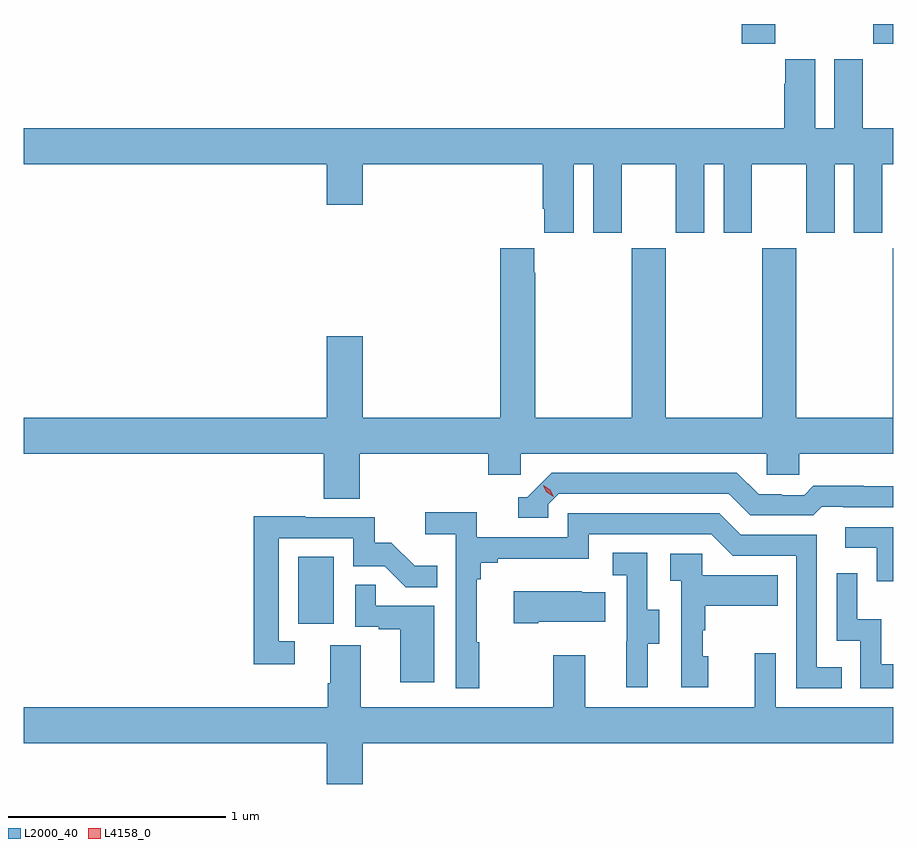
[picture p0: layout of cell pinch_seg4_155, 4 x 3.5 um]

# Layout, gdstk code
import gdstk
lib = gdstk.Library(unit=1e-6, precision=1e-09)
def R(c, l, rs):  # rectangles x0, y0, x1, y1
    for r in rs: c.add(gdstk.rectangle(r[:2], r[2:], *l))
def P(c, l, *ps):  # polygons
    for p in ps: c.add(gdstk.Polygon(p, *l))
L2000_40 = (2000, 40)
L4158_0 = (4158, 0)

pinch_seg4_155 = lib.new_cell('pinch_seg4_155')
R(pinch_seg4_155, L2000_40, [(1141.898,804.03,1142.062,804.337), (1143.938,806.697,1144.093,806.788), (1144.543,806.697,1144.635,806.788)])
P(pinch_seg4_155, L2000_40, [(1143.166,806.144),(1143.254,806.144),(1143.254,805.827),(1143.385,805.827),(1143.385,806.144),(1143.635,806.144),(1143.635,805.827),(1143.766,805.827),(1143.766,806.144),(1143.854,806.144),(1143.854,805.827),(1143.985,805.827),(1143.985,806.144),(1144.235,806.144),(1144.235,805.827),(1144.366,805.827),(1144.366,806.144),(1144.454,806.144),(1144.454,805.827),(1144.585,805.827),(1144.585,806.144),(1144.635,806.144),(1144.635,806.308),(1144.495,806.308),(1144.495,806.626),(1144.364,806.626),(1144.364,806.308),(1144.276,806.308),(1144.276,806.626),(1144.139,806.626),(1144.139,806.513),(1144.133,806.513),(1144.133,806.308),(1140.635,806.308),(1140.635,806.144),(1142.03,806.144),(1142.03,805.956),(1142.194,805.956),(1142.194,806.144),(1143.023,806.144),(1143.023,805.939),(1143.029,805.939),(1143.029,805.827),(1143.166,805.827)],
  [(1142.18,804.812),(1142.771,804.812),(1142.771,804.714),(1142.922,804.714),(1142.922,804.812),(1144.053,804.812),(1144.053,804.714),(1144.203,804.714),(1144.203,804.812),(1144.635,804.812),(1144.635,805.756),(1144.633,805.756),(1144.633,804.976),(1144.188,804.976),(1144.188,805.756),(1144.033,805.756),(1144.033,804.976),(1143.588,804.976),(1143.588,805.756),(1143.433,805.756),(1143.433,804.976),(1142.988,804.976),(1142.988,805.643),(1142.983,805.643),(1142.983,805.756),(1142.828,805.756),(1142.828,804.976),(1142.194,804.976),(1142.194,805.351),(1142.03,805.351),(1142.03,804.976),(1140.635,804.976),(1140.635,804.812),(1142.015,804.812),(1142.015,804.604),(1142.18,804.604)],
  [(1143.048,804.579),(1143.096,804.627),(1143.879,804.627),(1143.978,804.528),(1144.267,804.528),(1144.306,804.567),(1144.405,804.567),(1144.405,804.564),(1144.635,804.564),(1144.635,804.661),(1144.5,804.661),(1144.5,804.664),(1144.267,804.664),(1144.225,804.621),(1144.122,804.621),(1144.122,804.624),(1144.015,804.624),(1143.916,804.723),(1143.063,804.723),(1142.952,804.612),(1142.909,804.612),(1142.909,804.516),(1143.048,804.516)],
  [(1142.731,803.945),(1142.719,803.945),(1142.719,804.233),(1142.738,804.233),(1142.738,804.31),(1142.815,804.31),(1142.815,804.329),(1143.234,804.329),(1143.234,804.441),(1143.798,804.441),(1143.897,804.342),(1144.188,804.342),(1144.188,803.733),(1144.397,803.733),(1144.397,803.829),(1144.284,803.829),(1144.284,804.438),(1143.934,804.438),(1143.835,804.537),(1143.138,804.537),(1143.138,804.426),(1142.72,804.426),(1142.72,804.542),(1142.481,804.542),(1142.481,804.44),(1142.622,804.44),(1142.622,803.733),(1142.731,803.733)],
  [(1141.882,803.949),(1141.809,803.949),(1141.809,804.423),(1142.151,804.423),(1142.151,804.294),(1142.295,804.294),(1142.393,804.196),(1142.537,804.196),(1142.537,804.295),(1142.433,804.295),(1142.326,804.402),(1142.25,804.402),(1142.25,804.519),(1141.931,804.519),(1141.931,804.524),(1141.693,804.524),(1141.693,803.844),(1141.882,803.844)],
  [(1144.635,804.474),(1144.413,804.474),(1144.413,804.378),(1144.56,804.378),(1144.56,804.225),(1144.635,804.225)],
  [(1143.505,803.938),(1143.559,803.938),(1143.559,804.093),(1143.504,804.093),(1143.504,804.356),(1143.345,804.356),(1143.345,804.253),(1143.408,804.253),(1143.408,803.949),(1143.407,803.949),(1143.407,803.736),(1143.505,803.736)],
  [(1143.784,803.88),(1143.759,803.88),(1143.759,803.999),(1143.769,803.999),(1143.769,804.113),(1144.103,804.113),(1144.103,804.253),(1143.756,804.253),(1143.756,804.351),(1143.609,804.351),(1143.609,804.227),(1143.66,804.227),(1143.66,803.736),(1143.784,803.736)],
  [(1144.635,803.842),(1144.58,803.842),(1144.58,804.05),(1144.47,804.05),(1144.47,804.262),(1144.374,804.262),(1144.374,803.952),(1144.482,803.952),(1144.482,803.733),(1144.635,803.733)],
  [(1142.524,804.111),(1142.255,804.111),(1142.255,804.209),(1142.16,804.209),(1142.16,804.015),(1142.267,804.015),(1142.267,804.003),(1142.366,804.003),(1142.366,803.76),(1142.524,803.76)],
  [(1143.001,804.038),(1143.311,804.038),(1143.311,804.175),(1143.203,804.175),(1143.203,804.178),(1142.889,804.178),(1142.889,804.031),(1143.001,804.031)],
  [(1142.194,803.48),(1144.635,803.48),(1144.635,803.644),(1144.095,803.644),(1144.095,803.893),(1143.998,803.893),(1143.998,803.644),(1143.217,803.644),(1143.217,803.884),(1143.07,803.884),(1143.07,803.644),(1142.185,803.644),(1142.185,803.93),(1142.045,803.93),(1142.045,803.756),(1142.033,803.756),(1142.033,803.644),(1140.635,803.644),(1140.635,803.48),(1142.03,803.48),(1142.03,803.292),(1142.194,803.292)])
P(pinch_seg4_155, L4158_0, [(1143.072,804.613),(1143.041,804.633),(1143.025,804.665),(1143.025,804.666),(1143.025,804.666),(1143.056,804.646),(1143.072,804.613),(1143.072,804.613)])

lib.write_gds('pinch_seg4_155.gds')
